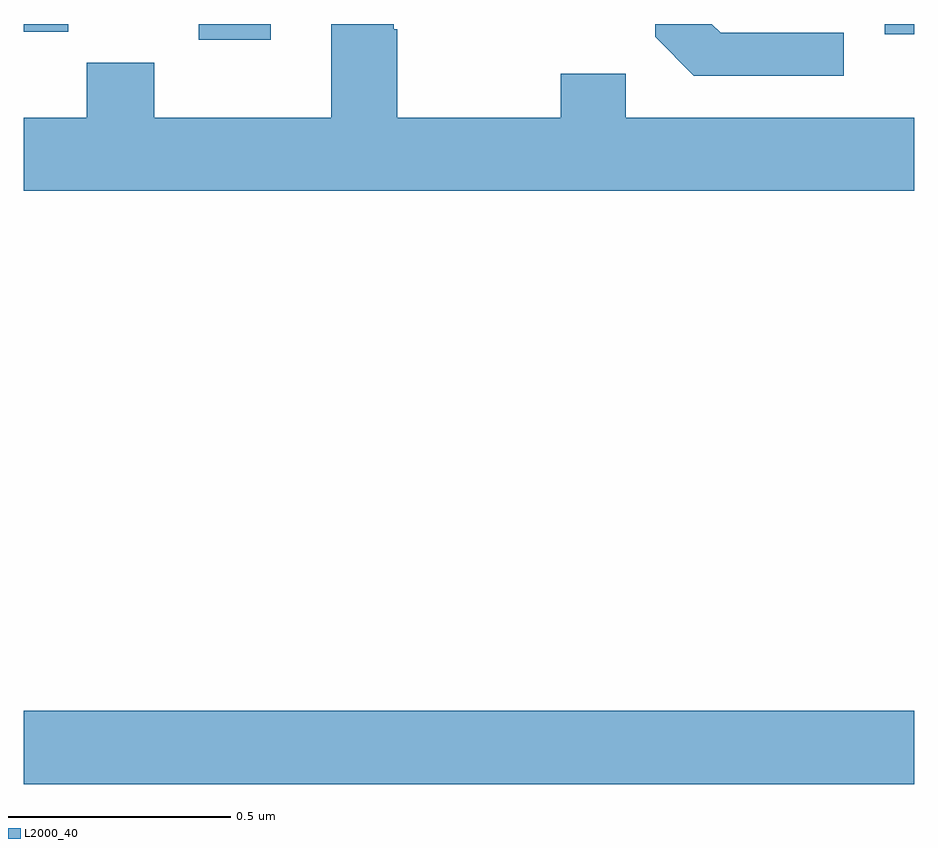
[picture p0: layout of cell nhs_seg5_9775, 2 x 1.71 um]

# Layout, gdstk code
import gdstk
lib = gdstk.Library(unit=1e-6, precision=1e-09)
def R(c, l, rs):  # rectangles x0, y0, x1, y1
    for r in rs: c.add(gdstk.rectangle(r[:2], r[2:], *l))
def P(c, l, *ps):  # polygons
    for p in ps: c.add(gdstk.Polygon(p, *l))
L2000_40 = (2000, 40)

nhs_seg5_9775 = lib.new_cell('nhs_seg5_9775')
R(nhs_seg5_9775, L2000_40, [(238,858.092,240,858.256), (238.393,859.764,238.555,859.799), (239.934,859.776,240,859.799), (238,859.782,238.1,859.799)])
P(nhs_seg5_9775, L2000_40, [(239.842,859.779),(239.565,859.779),(239.545,859.799),(239.418,859.799),(239.418,859.77),(239.505,859.683),(239.842,859.683)],
  [(239.206,859.687),(239.206,859.588),(238.839,859.588),(238.839,859.787),(238.831,859.787),(238.831,859.799),(238.691,859.799),(238.691,859.588),(238.293,859.588),(238.293,859.712),(238.141,859.712),(238.141,859.588),(238,859.588),(238,859.424),(240,859.424),(240,859.588),(239.352,859.588),(239.352,859.687)])

lib.write_gds('nhs_seg5_9775.gds')
